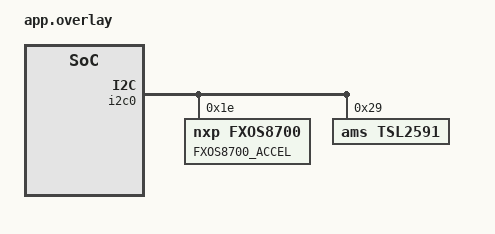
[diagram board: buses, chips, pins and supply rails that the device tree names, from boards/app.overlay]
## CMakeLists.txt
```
# SPDX-License-Identifier: Apache-2.0

cmake_minimum_required(VERSION 3.20.0)
find_package(Zephyr REQUIRED HINTS $ENV{ZEPHYR_BASE})
project(mcxw71_sniffer)

target_sources(app PRIVATE src/main.c)
```

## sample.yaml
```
sample:
  name: MCXW71 Sniffer
  description: BLE and IEEE 802.15.4 sniffer with sensor logging for MCXW71
tests:
  sample.sniffer.mcxw71:
    filter: dt_alias_exists("led0")
    tags:
      - net
      - bluetooth
      - ieee802154
    depends_on: gpio ble ieee802154
    harness: console
    integration_platforms:
      - frdm_mcxw71
```

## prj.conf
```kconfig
# General
CONFIG_LOG=y
CONFIG_MAIN_STACK_SIZE=2048

# Networking Core
CONFIG_NETWORKING=y
CONFIG_NET_L2_IEEE802154=y
CONFIG_NET_PROMISCUOUS_MODE=y
CONFIG_NET_LOG=y

# Bluetooth
CONFIG_BT=y
CONFIG_BT_OBSERVER=y
CONFIG_BT_HCI=y
# CONFIG_BT_HCI_VS_EXT=y

# Peripherals
CONFIG_GPIO=y
CONFIG_I2C=y # Or CONFIG_SPI=y depending on your sensors
CONFIG_SENSOR=y

# Drivers
CONFIG_FXOS8700=y
CONFIG_TSL2591=y

CONFIG_CBPRINTF_FP_SUPPORT=y
CONFIG_NET_L2_IEEE802154_PROMISCUOUS=y
CONFIG_NET_L2_IEEE802154_RAW_MODE=y
```

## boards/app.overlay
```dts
/ {
    aliases {
        led0 = &led_0;
        fxos8700 = &fxos8700_accel;
        tsl2591 = &tsl2591;
    };
};

&i2c0 { // Or the I2C bus your sensors are on
    fxos8700_accel: fxos8700@1e {
        compatible = "nxp,fxos8700";
        reg = <0x1e>;
        label = "FXOS8700_ACCEL";
    };

    tsl2591: tsl2591@29 {
        compatible = "ams,tsl2591";
        reg = <0x29>;
        label = "TSL2591";
    };
};
```

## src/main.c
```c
/*
 * Copyright (c) 2024 Google LLC
 *
 * SPDX-License-Identifier: Apache-2.0
 */

/**
 * @file main.c
 * @brief Multi-functional device firmware for Zephyr RTOS.
 *
 * This application demonstrates a device that simultaneously acts as a radio
 * sniffer for both Bluetooth Low Energy (BLE) and IEEE 802.15.4 networks,
 * while also logging data from on-board sensors (accelerometer and light)
 * and providing a visual heartbeat via an LED.
 *
 * This implementation incorporates fixes for modern Zephyr APIs, particularly
 * for network management event callbacks. It requires the appropriate device
 * tree overlays and Kconfig settings to be enabled for all hardware components.
 */

#include <zephyr/kernel.h>
#include <zephyr/device.h>
#include <zephyr/logging/log.h>
#include <zephyr/version.h>

/* Peripherals */
#include <zephyr/drivers/gpio.h>
#include <zephyr/drivers/sensor.h>

/* Networking & Radio */
#include <zephyr/bluetooth/bluetooth.h>
#include <zephyr/bluetooth/hci.h>
#include <zephyr/net/net_if.h>
#include <zephyr/net/net_mgmt.h>
#include <zephyr/net/net_pkt.h>
#include <zephyr/net/ieee802154.h>
#include <zephyr/net/ieee802154_mgmt.h>


/* Register the logging module once */
LOG_MODULE_REGISTER(sniffer_app, LOG_LEVEL_INF);

/* --- Configuration --- */
#define MAIN_LOOP_SLEEP_MS 2000 /* Sleep duration for the main loop (in ms) */

/* --- Device Tree Aliases --- */

/* Heartbeat LED */
#if DT_HAS_ALIAS(led0)
static const struct gpio_dt_spec heartbeat_led = GPIO_DT_SPEC_GET(DT_ALIAS(led0), gpios);
#else
#warning "led0 alias not defined in device tree. Heartbeat LED will be disabled."
#define heartbeat_led (const struct gpio_dt_spec){0}
#endif

/* Accelerometer Sensor */
#if DT_HAS_ALIAS(fxos8700)
static const struct device *const accel_dev = DEVICE_DT_GET(DT_ALIAS(fxos8700));
#else
#warning "fxos8700 alias not defined in device tree. Accelerometer will be disabled."
#define accel_dev NULL
#endif

/* Light Sensor */
#if DT_HAS_ALIAS(tsl2591)
static const struct device *const light_dev = DEVICE_DT_GET(DT_ALIAS(tsl2591));
#else
#warning "tsl2591 alias not defined in device tree. Light sensor will be disabled."
#define light_dev NULL
#endif


/* --- BLE Sniffer --- */

/**
 * @brief Callback function for BLE scan results.
 *
 * This function is invoked for each BLE advertisement packet received.
 * It logs the advertiser's address and the RSSI.
 */
static void ble_scan_cb(const bt_addr_le_t *addr, int8_t rssi, uint8_t type,
            struct net_buf_simple *ad)
{
    char addr_str[BT_ADDR_LE_STR_LEN];
    bt_addr_le_to_str(addr, addr_str, sizeof(addr_str));
    LOG_INF("BLE device found: %s (RSSI %d)", addr_str, rssi);
}

/**
 * @brief Initializes and starts the BLE scanner.
 */
static int ble_sniffer_init(void)
{
    struct bt_le_scan_param scan_param = {
        .type       = BT_LE_SCAN_TYPE_PASSIVE,
        .options    = BT_LE_SCAN_OPT_NONE,
        .interval   = BT_GAP_SCAN_FAST_INTERVAL,
        .window     = BT_GAP_SCAN_FAST_WINDOW,
    };
    int err;

    err = bt_enable(NULL);
    if (err) {
        LOG_ERR("Bluetooth init failed (err %d)", err);
        return err;
    }

    err = bt_le_scan_start(&scan_param, ble_scan_cb);
    if (err) {
        LOG_ERR("Starting scanning failed (err %d)", err);
        return err;
    }

    LOG_INF("BLE sniffer started successfully");
    return 0;
}


/* --- 802.15.4 Sniffer --- */

static struct net_mgmt_event_callback mgmt_cb;

/**
 * @brief Callback for IEEE 802.15.4 scan result events.
 *
 * The function signature matches the Zephyr net_mgmt_event_handler_t typedef:
 *   void (*)(struct net_mgmt_event_callback *cb,
 *            uint32_t mgmt_event,
 *            struct net_if *iface)
 *
 * Additional event info is accessed via cb->info and cb->info_length,
 * NOT passed as extra function arguments.
 */
static void ieee802154_handler(struct net_mgmt_event_callback *cb,
                   uint32_t mgmt_event,
                   struct net_if *iface)
{
    if (mgmt_event != NET_EVENT_IEEE802154_SCAN_RESULT) {
        return;
    }

    /* The scan result info is available through cb->info */
    if (cb->info == NULL || cb->info_length == 0) {
        return;
    }

    LOG_INF("802.15.4 scan result received on iface %p", iface);
}

/**
 * @brief Initializes the 802.15.4 sniffer.
 *
 * Sets up the network management event callback for scan results and
 * enables promiscuous mode on the default IEEE 802.15.4 interface so
 * that all traffic is captured.
 */
static void ieee802154_sniffer_init(void)
{
    struct net_if *iface = net_if_get_default();

    if (!iface) {
        LOG_ERR("Could not get default network interface");
        return;
    }

    /* Register for IEEE 802.15.4 scan result events */
    net_mgmt_init_event_callback(&mgmt_cb, ieee802154_handler,
                       NET_EVENT_IEEE802154_SCAN_RESULT);
    net_mgmt_add_event_callback(&mgmt_cb);

    /* Enter promiscuous mode to capture all traffic */
    if (net_if_set_promisc(iface) != 0) {
        LOG_ERR("Failed to set promiscuous mode on 802.15.4 interface");
        return;
    }

    LOG_INF("802.15.4 sniffer started in promiscuous mode");
}


/* --- Sensor Handling --- */

/**
 * @brief Fetches and logs data from the accelerometer.
 */
static void log_accelerometer_data(void)
{
    if (!accel_dev || !device_is_ready(accel_dev)) {
        return;
    }

    struct sensor_value acc[3];
    int ret;

    ret = sensor_sample_fetch(accel_dev);
    if (ret < 0) {
        LOG_ERR("Failed to fetch accelerometer sample: %d", ret);
        return;
    }

    ret = sensor_channel_get(accel_dev, SENSOR_CHAN_ACCEL_XYZ, acc);
    if (ret < 0) {
        LOG_ERR("Failed to get accelerometer data: %d", ret);
        return;
    }

    LOG_INF("Accel X: %.2f, Y: %.2f, Z: %.2f (m/s^2)",
        sensor_value_to_double(&acc[0]),
        sensor_value_to_double(&acc[1]),
        sensor_value_to_double(&acc[2]));
}

/**
 * @brief Fetches and logs data from the light sensor.
 */
static void log_light_data(void)
{
    if (!light_dev || !device_is_ready(light_dev)) {
        return;
    }

    struct sensor_value light;
    int ret;

    ret = sensor_sample_fetch(light_dev);
    if (ret < 0) {
        LOG_ERR("Failed to fetch light sensor sample: %d", ret);
        return;
    }

    ret = sensor_channel_get(light_dev, SENSOR_CHAN_LIGHT, &light);
    if (ret < 0) {
        LOG_ERR("Failed to get light sensor data: %d", ret);
        return;
    }

    LOG_INF("Ambient Light: %d Lux", light.val1);
}


/* --- Main Application --- */

int main(void)
{
    int ret;
    bool led_is_ready = false;

    LOG_INF("*** Booting Zephyr OS build %s ***", KERNEL_VERSION_STRING);
    LOG_INF("Multi-Sniffer and Sensor Logger Initializing...");

    /* --- Initialize Hardware --- */
    if (heartbeat_led.port && device_is_ready(heartbeat_led.port)) {
        ret = gpio_pin_configure_dt(&heartbeat_led, GPIO_OUTPUT_ACTIVE);
        if (ret == 0) {
            led_is_ready = true;
            LOG_INF("Heartbeat LED configured successfully.");
        } else {
            LOG_ERR("Failed to configure heartbeat LED (err %d)", ret);
        }
    }

    /* Check sensor readiness safely */
    if (accel_dev && !device_is_ready(accel_dev)) {
        LOG_ERR("Accelerometer device not ready.");
    }
    if (light_dev && !device_is_ready(light_dev)) {
        LOG_ERR("Light sensor device not ready.");
    }


    /* --- Initialize Sniffers --- */
    ble_sniffer_init();
    ieee802154_sniffer_init();

    /* --- Main Loop --- */
    while (1) {
        /* 1. Heartbeat LED */
        if (led_is_ready) {
            gpio_pin_toggle_dt(&heartbeat_led);
            LOG_INF("--- Heartbeat ---");
        }

        /* 2. Log Sensor Data */
        log_accelerometer_data();
        log_light_data();

        /* 3. Sleep */
        k_msleep(MAIN_LOOP_SLEEP_MS);
    }

    return 0;
}
```
